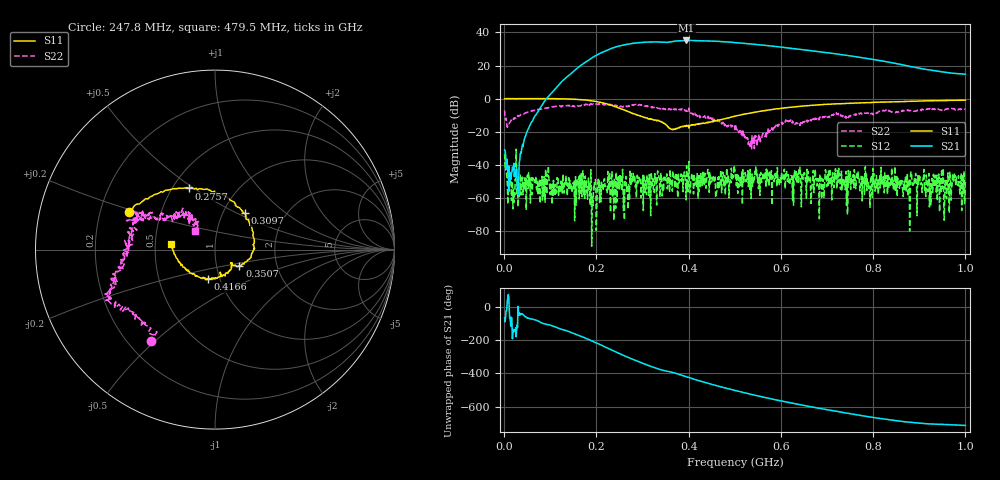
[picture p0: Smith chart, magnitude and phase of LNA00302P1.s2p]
! Created with skrf 1.9.0 (http://scikit-rf.org).
# Hz S RI R 50.0
!freq ReS11 ImS11 ReS21 ImS21 ReS12 ImS12 ReS22 ImS22
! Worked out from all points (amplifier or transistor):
!   1001 points, 1 MHz to 1 GHz, reference 50 ohm
!   highest |S21| = 35.1 dB at 394.6 MHz (marker M1)
!   |S21| within 3 dB of that: 255.1 MHz to 566.3 MHz (311.2 MHz wide, 75.8 % of centre) (the widest 1 of 2)
!   unconditionally stable (mu >= 1): start of sweep to 86.55 MHz; 256.9 MHz to 395.6 MHz; 400.8 MHz to end of sweep (the widest 3 of 28)
!   at 166.8 MHz: K = 1.24, MAG = 29.9 dB, |S12| = -45.5 dB
!   at 500.5 MHz: K = 1.45, MAG = 34.5 dB, |S12| = -43.0 dB
!   at 1 GHz: K = 3.53, MAG = 23.4 dB, |S12| = -48.9 dB
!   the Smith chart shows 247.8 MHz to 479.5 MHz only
!   S11 on the Smith chart (normalised r, x): 247.8 MHz: 0.33, +0.19; 275.7 MHz: 0.61, +0.48; 309.7 MHz: 1.26, +0.55; 350.6 MHz: 1.29, -0.24; 416.6 MHz: 0.88, -0.29; 479.5 MHz: 0.61, +0.04
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1000000  0.979 0.0131  0.0113 -0.0261  -0.021 -0.00372  0.324 0.3002
1.08892e8  0.5107 -0.8527  -0.8776 -1.613  -0.00121 0.000501  0.4376 -0.3682
1.67833e8  -0.2512 -0.8924  -10.48 -0.371  -0.00192 0.00133  0.049 -0.6375
2.11789e8  -0.6812 -0.3234  -15.45 19.47  0.00258 -0.000371  -0.199 -0.6418
2.47753e8  -0.478 0.2119  5.252 37.93  0.0026 -0.00352  -0.3559 -0.5094
2.75725e8  -0.1439 0.3404  30.91 34.18  -0.00487 -0.00235  -0.5349 -0.3048
3.09691e8  0.1656 0.202  50.27 9.482  -0.00393 0.00275  -0.5883 -0.1621
3.34666e8  0.2165 0.00185  50.01 -12.17  -0.00525 0.000428  -0.5081 -0.0197
3.5065e8  0.1364 -0.09  45.2 -21.77  0.000479 0.00333  -0.4804 0.038
3.72628e8  0.0923 -0.0812  41.92 -35.52  0.00321 0.00197  -0.4556 0.175
3.94606e8  0.0572 -0.1367  28.13 -49.76  -0.000336 -0.000796  -0.4104 0.1639
4.16584e8  -0.0388 -0.1627  10.31 -55.95  0.00297 0.0025  -0.278 0.1704
4.45555e8  -0.1619 -0.1077  -11.73 -53.82  0.00503 0.00334  -0.1761 0.2004
4.79521e8  -0.2442 0.0317  -31.85 -41.14  0.00118 -0.000335  -0.1108 0.1063
5.005e8  -0.2554 0.147  -39.47 -30.06  0.00693 -0.00143  -0.0786 0.0852
5.39461e8  -0.1769 0.3329  -43.36 -8.579  0.0033 -0.00301  -0.0506 0.00265
5.85415e8  0.0154 0.4791  -36.36 11.18  0.00234 -0.00197  -0.1185 -0.0624
6.25375e8  0.2028 0.5189  -25.06 20.82  0.000789 -0.000377  -0.1743 -0.1188
6.67333e8  0.4019 0.4807  -12.94 24.4  0.00212 0.000808  -0.2296 -0.043
7.53247e8  0.6748 0.2675  4.693 18.67  0.0022 -0.00099  -0.3021 0.0291
8.34166e8  0.793 0.00971  9.551 8.313  0.00247 -0.00309  -0.4102 0.0757
1e9  0.7242 -0.5304  5.425 0.6252  -0.00148 0.00327  -0.2266 0.413
